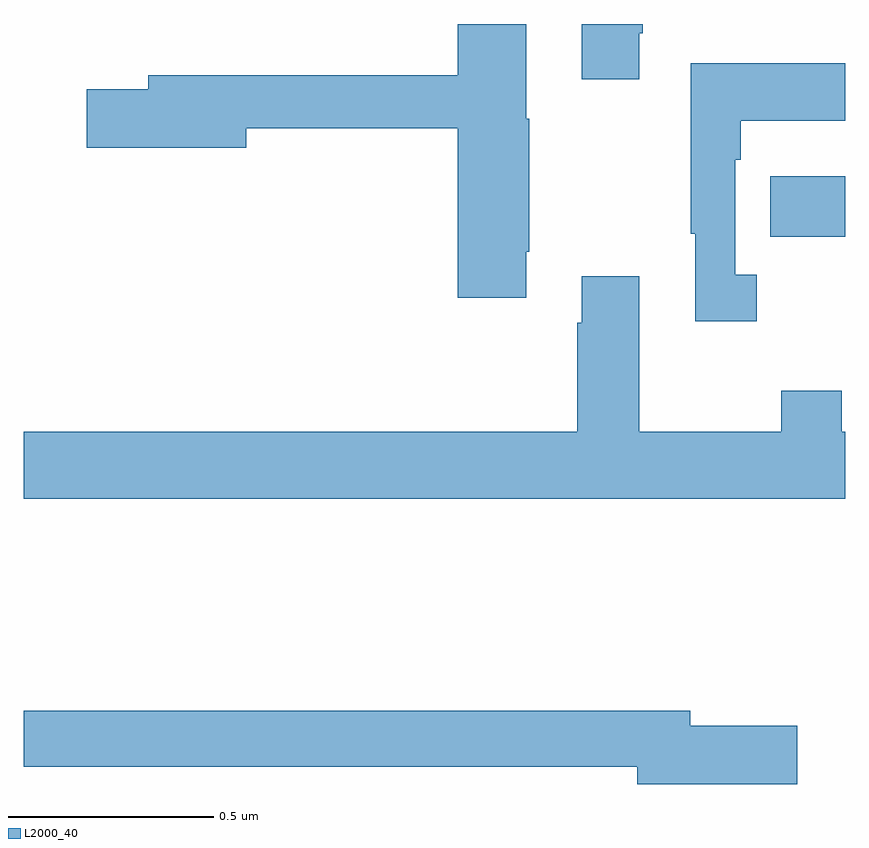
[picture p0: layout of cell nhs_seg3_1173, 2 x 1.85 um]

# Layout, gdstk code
import gdstk
lib = gdstk.Library(unit=1e-6, precision=1e-09)
def R(c, l, rs):  # rectangles x0, y0, x1, y1
    for r in rs: c.add(gdstk.rectangle(r[:2], r[2:], *l))
def P(c, l, *ps):  # polygons
    for p in ps: c.add(gdstk.Polygon(p, *l))
L2000_40 = (2000, 40)

nhs_seg3_1173 = lib.new_cell('nhs_seg3_1173')
R(nhs_seg3_1173, L2000_40, [(126.817,706.882,127,707.029)])
P(nhs_seg3_1173, L2000_40, [(126.499,707.377),(126.507,707.377),(126.507,707.4),(126.359,707.4),(126.359,707.265),(126.499,707.265)],
  [(126.223,706.846),(126.231,706.846),(126.231,707.169),(126.223,707.169),(126.223,707.4),(126.056,707.4),(126.056,707.275),(125.303,707.275),(125.303,707.241),(125.154,707.241),(125.154,707.099),(125.542,707.099),(125.542,707.146),(126.056,707.146),(126.056,706.734),(126.223,706.734)],
  [(126.784,706.79),(126.732,706.79),(126.732,707.069),(126.745,707.069),(126.745,707.165),(127,707.165),(127,707.305),(126.624,707.305),(126.624,706.889),(126.635,706.889),(126.635,706.677),(126.784,706.677)],
  [(127,706.408),(126.991,706.408),(126.991,706.507),(126.844,706.507),(126.844,706.408),(126.499,706.408),(126.499,706.786),(126.359,706.786),(126.359,706.673),(126.347,706.673),(126.347,706.408),(125,706.408),(125,706.244),(127,706.244)],
  [(126.883,705.692),(126.622,705.692),(126.622,705.728),(125,705.728),(125,705.592),(126.494,705.592),(126.494,705.55),(126.883,705.55)])

lib.write_gds('nhs_seg3_1173.gds')
